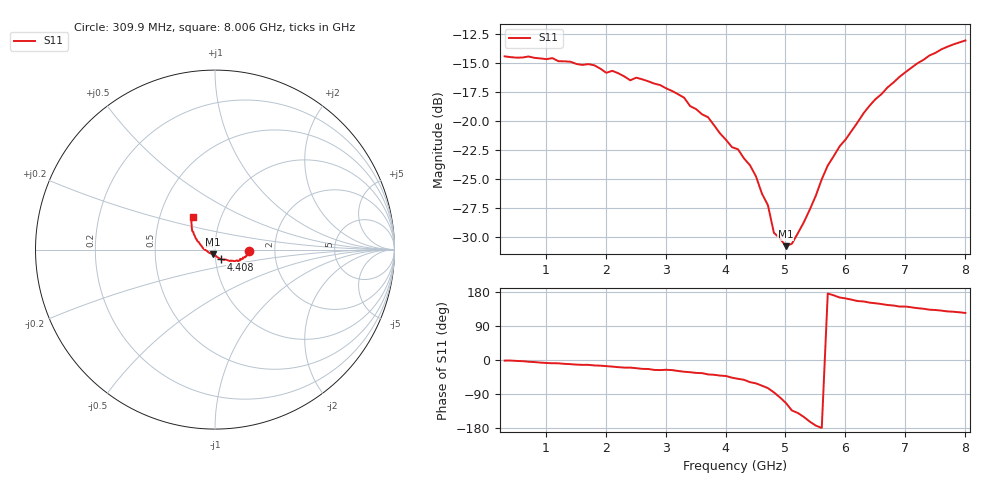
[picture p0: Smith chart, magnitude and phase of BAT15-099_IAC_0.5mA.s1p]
! Infineon Technologies  Discrete & RF Semiconductors
! BAT15-099
! IAC = 0.5 mA
! One-Port S-Parameters
# Hz  S  MA  R  50
!f  S11
!Hz  Mag  Ang
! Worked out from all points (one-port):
!   78 points, 309.9 MHz to 8.006 GHz, reference 50 ohm
!   lowest |S11| = -30.8 dB at 5.008 GHz (marker M1), VSWR 1.06, Z = 48.8 - j2.6 ohm
!   |S11| at or under -10 dB: start of sweep to end of sweep
!   S11 on the Smith chart (normalised r, x): 309.9 MHz: 1.47, -0.02; 4.408 GHz: 1.06, -0.12; 8.006 GHz: 0.73, +0.28
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3.0985e8  0.1898 -1.5
1.30935e9  0.1807 -10.2
1.8091e9  0.1736 -14.3
2.009e9  0.1613 -16.2
2.10895e9  0.1645 -17.4
2.30885e9  0.1556 -20.0
2.4088e9  0.1497 -20.0
2.50875e9  0.1537 -21.6
2.90855e9  0.1428 -26.6
3.2084e9  0.1303 -28.9
3.30835e9  0.126 -31.0
3.4083e9  0.1159 -32.2
3.70815e9  0.1038 -38.0
4.10795e9  0.07719 -46.7
4.2079e9  0.07557 -49.7
4.4078e9  0.06452 -58.4
4.70765e9  0.04342 -74.2
4.8076e9  0.03305 -85.4
5.0075e9  0.02894 -113.3
5.10745e9  0.02964 -133.1
5.2074e9  0.03288 -139.8
5.4073e9  0.0416 -162.7
5.70715e9  0.06431 175.4
6.10695e9  0.09081 159.1
6.50675e9  0.1244 149.6
7.10645e9  0.1697 139.0
7.6062e9  0.2035 130.3
8.006e9  0.2222 124.2
